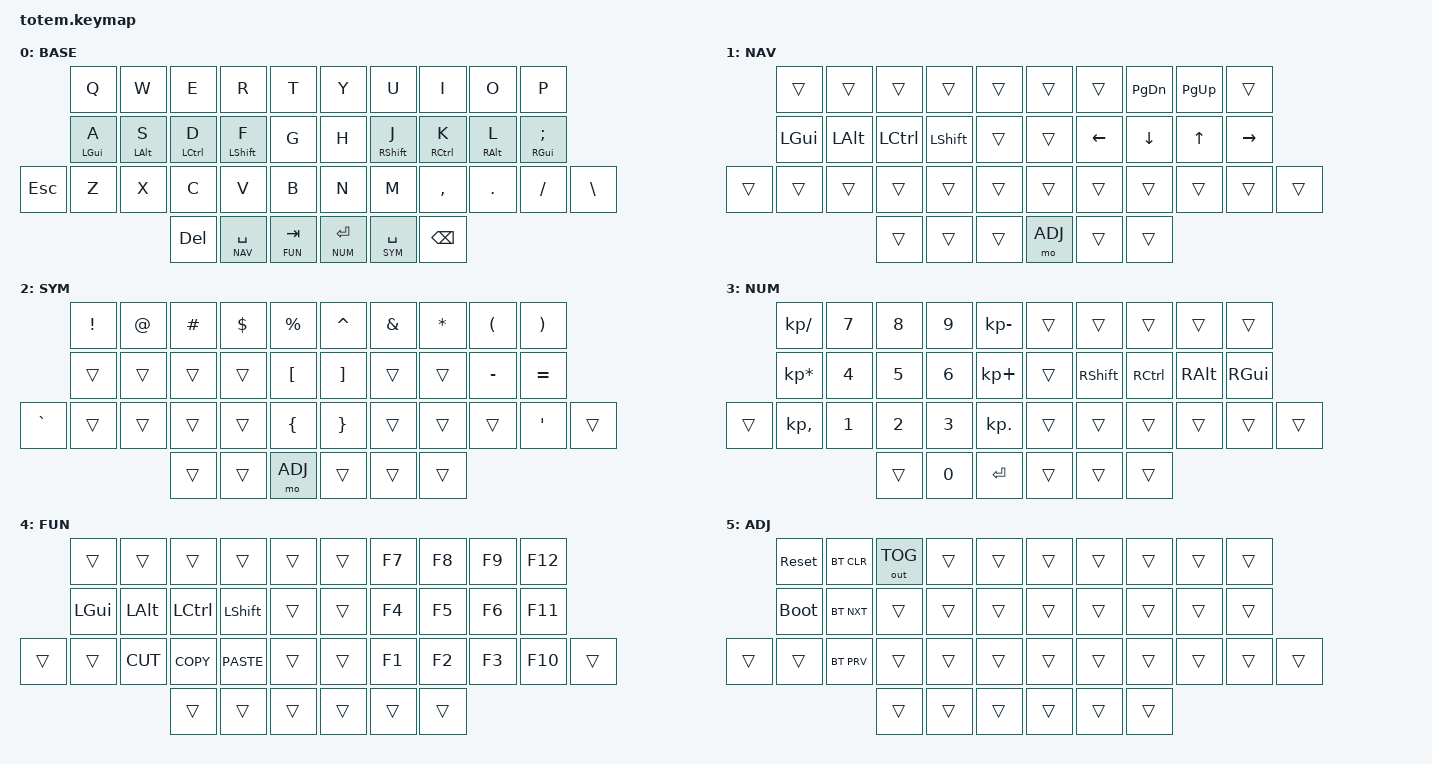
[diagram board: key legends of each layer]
//
//                                                        ▀▀▀▀▀     ▀▀▀▀▀          ▀▀█▀▀
//                                                        ▄▀▀▀▄  ▄  ▄▀▀▀▄  ▄  ▄▀▀▀▄  █  ▄▀▀▀▄
//                                                        █   █  █  █   █  █  █   █  █  █   █
//                                                         ▀▀▀   █   ▀▀▀   █   ▀▀▀   ▀   ▀▀▀
//                                                               █      ▄▄▄█▄▄▄    █   █  
//                                                               ▀      █  █  █     █▄█
//                                                             ▀▀▀▀▀    █  █  █      ▀
//                                                                      ▀  ▀  ▀
//
// ▄▄▄▄▄▄▄▄▄▄▄▄▄▄▄▄▄▄▄▄▄▄▄▄▄▄▄▄▄▄▄▄▄▄▄▄▄▄▄▄▄▄▄▄▄▄▄▄▄▄▄▄▄▄▄▄▄▄▄▄▄▄▄▄▄▄▄▄▄▄▄▄▄▄▄▄▄▄▄▄▄▄▄▄▄▄▄▄▄▄▄▄▄▄▄▄▄▄▄▄▄▄▄▄▄▄▄▄▄▄▄▄▄▄▄▄▄▄▄▄▄▄▄▄▄▄▄▄▄▄▄▄▄▄▄▄▄▄▄▄▄▄▄▄▄▄▄▄▄
       

#include <behaviors.dtsi>
#include <dt-bindings/zmk/keys.h>
#include <dt-bindings/zmk/bt.h>
#include <dt-bindings/zmk/outputs.h>

#define BASE 0
#define NAV  1
#define SYM  2
#define NUM  3
#define FUN  4
#define ADJ  5

&mt {
  quick-tap-ms = <100>;
  global-quick-tap;
  flavor = "tap-preferred";
  tapping-term-ms = <170>;
};

/ {
     combos {
            compatible = "zmk,combos";
            combo_esc {
                timeout-ms = <50>;
                key-positions = <0 1>;
                bindings = <&kp ESC>;
            };
    };

        keymap {
                compatible = "zmk,keymap";
// ▄▄▄▄▄▄▄▄▄▄▄▄▄▄▄▄▄▄▄▄▄▄▄▄▄▄▄▄▄▄▄▄▄▄▄▄▄▄▄▄▄▄▄▄▄▄▄▄▄▄▄▄▄▄▄▄▄▄▄▄▄▄▄▄▄▄▄▄▄▄▄▄▄▄▄▄▄▄▄▄▄▄▄▄▄▄▄▄▄▄▄▄▄▄▄▄▄▄▄▄▄▄▄▄▄▄▄▄▄▄▄▄▄▄▄▄▄▄▄▄▄▄▄▄▄▄▄▄▄▄▄▄▄▄▄▄▄▄▄▄▄▄▄▄▄▄▄▄▄

                base_layer {
// ┏━━━━━━━━━━━━━━━━━━━━━━━━━━━━━━━━━━━━━━━┓
label= "BASE"                              ;
// ┗━━━━━━━━━━━━━━━━━━━━━━━━━━━━━━━━━━━━━━━┛
//             ┏━━━━━━━━━━━┳━━━━━━━━━━━┳━━━━━━━━━━━┳━━━━━━━━━━━┳━━━━━━━━━━━┓   ┏━━━━━━━━━━━┳━━━━━━━━━━━┳━━━━━━━━━━━┳━━━━━━━━━━━┳━━━━━━━━━━━┓
//             ┃     Q     ┃     W     ┃     E     ┃     R     ┃     T     ┃   ┃     Y     ┃     U     ┃     I     ┃     O     ┃     P     ┃
//             ┣━━━━━━━━━━━╋━━━━━━━━━━━╋━━━━━━━━━━━╋━━━━━━━━━━━╋━━━━━━━━━━━┫   ┣━━━━━━━━━━━╋━━━━━━━━━━━╋━━━━━━━━━━━╋━━━━━━━━━━━╋━━━━━━━━━━━┫
//             ┃     A     ┃     S     ┃     D     ┃     F     ┃     G     ┃   ┃     H     ┃     J     ┃     K     ┃     L     ┃     ;     ┃
// ┏━━━━━━━━━━━╋━━━━━━━━━━━╋━━━━━━━━━━━╋━━━━━━━━━━━╋━━━━━━━━━━━╋━━━━━━━━━━━┫   ┣━━━━━━━━━━━╋━━━━━━━━━━━╋━━━━━━━━━━━╋━━━━━━━━━━━╋━━━━━━━━━━━╋━━━━━━━━━━━┓
// ┃    ESC    ┃     Z     ┃     X     ┃     C     ┃     V     ┃     B     ┃   ┃     N     ┃     M     ┃     ,     ┃     .     ┃     /     ┃     \     ┃
// ┗━━━━━━━━━━━┻━━━━━━━━━━━┻━━━━━━━━━━━╋━━━━━━━━━━━╋━━━━━━━━━━━╋━━━━━━━━━━━┫   ┣━━━━━━━━━━━╋━━━━━━━━━━━╋━━━━━━━━━━━╋━━━━━━━━━━━┻━━━━━━━━━━━┻━━━━━━━━━━━┛
//                                     ┃    DEL    ┃    TAB    ┃    SPC    ┃   ┃    SPC    ┃    RET    ┃   BSPC    ┃
//                                     ┗━━━━━━━━━━━┻━━━━━━━━━━━┻━━━━━━━━━━━┛   ┗━━━━━━━━━━━┻━━━━━━━━━━━┻━━━━━━━━━━━┛
 bindings = <
// ╷           ╷           ╷           ╷           ╷           ╷           ╷   ╷           ╷           ╷           ╷           ╷           ╷           ╷

                &kp Q       &kp W       &kp E       &kp R       &kp T           &kp Y       &kp U       &kp I       &kp O       &kp P
                &mt LGUI A  &mt LALT S  &mt LCTRL D &mt LSHFT F &kp G           &kp H       &mt RSHFT J &mt RCTRL K &mt RALT L  &mt RGUI SEMI
    &kp ESC     &kp Z       &kp X       &kp C       &kp V       &kp B           &kp N       &kp M       &kp COMMA   &kp DOT     &kp FSLH    &kp BSLH
                                        &kp DEL     &lt NAV SPACE &lt FUN TAB   &lt NUM RET &lt SYM SPACE &kp BSPC
                        >;
                };

// ▄▄▄▄▄▄▄▄▄▄▄▄▄▄▄▄▄▄▄▄▄▄▄▄▄▄▄▄▄▄▄▄▄▄▄▄▄▄▄▄▄▄▄▄▄▄▄▄▄▄▄▄▄▄▄▄▄▄▄▄▄▄▄▄▄▄▄▄▄▄▄▄▄▄▄▄▄▄▄▄▄▄▄▄▄▄▄▄▄▄▄▄▄▄▄▄▄▄▄▄▄▄▄▄▄▄▄▄▄▄▄▄▄▄▄▄▄▄▄▄▄▄▄▄▄▄▄▄▄▄▄▄▄▄▄▄▄▄▄▄▄▄▄▄▄▄▄▄▄


                nav_layer {
// ┏━━━━━━━━━━━━━━━━━━━━━━━━━━━━━━━━━━━━━━━┓
label= "NAV"                               ;
// ┗━━━━━━━━━━━━━━━━━━━━━━━━━━━━━━━━━━━━━━━┛
//             ┏━━━━━━━━━━━┳━━━━━━━━━━━┳━━━━━━━━━━━┳━━━━━━━━━━━┳━━━━━━━━━━━┓   ┏━━━━━━━━━━━┳━━━━━━━━━━━┳━━━━━━━━━━━┳━━━━━━━━━━━┳━━━━━━━━━━━┓
//             ┃           ┃           ┃           ┃           ┃           ┃   ┃           ┃           ┃  PG DOWN  ┃   PG UP   ┃           ┃
//             ┣━━━━━━━━━━━╋━━━━━━━━━━━╋━━━━━━━━━━━╋━━━━━━━━━━━╋━━━━━━━━━━━┫   ┣━━━━━━━━━━━╋━━━━━━━━━━━╋━━━━━━━━━━━╋━━━━━━━━━━━╋━━━━━━━━━━━┫
//             ┃    WIN    ┃    ALT    ┃    CTRL   ┃    SHFT   ┃           ┃   ┃           ┃    LEFT   ┃   DOWN    ┃    UP     ┃   RIGHT   ┃ 
// ┏━━━━━━━━━━━╋━━━━━━━━━━━╋━━━━━━━━━━━╋━━━━━━━━━━━╋━━━━━━━━━━━╋━━━━━━━━━━━┫   ┣━━━━━━━━━━━╋━━━━━━━━━━━╋━━━━━━━━━━━╋━━━━━━━━━━━╋━━━━━━━━━━━╋━━━━━━━━━━━┓
// ┃           ┃           ┃           ┃           ┃           ┃           ┃   ┃           ┃           ┃           ┃           ┃           ┃           ┃
// ┗━━━━━━━━━━━┻━━━━━━━━━━━┻━━━━━━━━━━━╋━━━━━━━━━━━╋━━━━━━━━━━━╋━━━━━━━━━━━┫   ┣━━━━━━━━━━━╋━━━━━━━━━━━╋━━━━━━━━━━━╋━━━━━━━━━━━┻━━━━━━━━━━━┻━━━━━━━━━━━┛
//                                     ┃           ┃           ┃           ┃   ┃    ADJ    ┃           ┃           ┃
//                                     ┗━━━━━━━━━━━┻━━━━━━━━━━━┻━━━━━━━━━━━┛   ┗━━━━━━━━━━━┻━━━━━━━━━━━┻━━━━━━━━━━━┛
 bindings = <
// ╷           ╷           ╷           ╷           ╷           ╷           ╷   ╷           ╷           ╷           ╷           ╷           ╷           ╷

                &trans      &trans      &trans      &trans      &trans          &trans      &trans      &kp PG_DN   &kp PG_UP   &trans 
                &kp LGUI    &kp LALT    &kp LCTRL   &kp LSHFT   &trans          &trans      &kp LEFT    &kp DOWN    &kp UP      &kp RIGHT
    &trans      &trans      &trans      &trans      &trans      &trans          &trans      &trans      &trans      &trans      &trans     &trans 
                                        &trans      &trans      &trans          &mo ADJ     &trans      &trans      
                        >;
                };

// ▄▄▄▄▄▄▄▄▄▄▄▄▄▄▄▄▄▄▄▄▄▄▄▄▄▄▄▄▄▄▄▄▄▄▄▄▄▄▄▄▄▄▄▄▄▄▄▄▄▄▄▄▄▄▄▄▄▄▄▄▄▄▄▄▄▄▄▄▄▄▄▄▄▄▄▄▄▄▄▄▄▄▄▄▄▄▄▄▄▄▄▄▄▄▄▄▄▄▄▄▄▄▄▄▄▄▄▄▄▄▄▄▄▄▄▄▄▄▄▄▄▄▄▄▄▄▄▄▄▄▄▄▄▄▄▄▄▄▄▄▄▄▄▄▄▄▄▄▄


                sym_layer {
// ┏━━━━━━━━━━━━━━━━━━━━━━━━━━━━━━━━━━━━━━━┓
label= "SYM"                               ;
// ┗━━━━━━━━━━━━━━━━━━━━━━━━━━━━━━━━━━━━━━━┛
//             ┏━━━━━━━━━━━┳━━━━━━━━━━━┳━━━━━━━━━━━┳━━━━━━━━━━━┳━━━━━━━━━━━┓   ┏━━━━━━━━━━━┳━━━━━━━━━━━┳━━━━━━━━━━━┳━━━━━━━━━━━┳━━━━━━━━━━━┓
//             ┃     !     ┃     @     ┃     #     ┃     $     ┃     %     ┃   ┃     ˆ     ┃     &     ┃     *     ┃     (     ┃     )     ┃
//             ┣━━━━━━━━━━━╋━━━━━━━━━━━╋━━━━━━━━━━━╋━━━━━━━━━━━╋━━━━━━━━━━━┫   ┣━━━━━━━━━━━╋━━━━━━━━━━━╋━━━━━━━━━━━╋━━━━━━━━━━━╋━━━━━━━━━━━┫
//             ┃           ┃           ┃           ┃           ┃     [     ┃   ┃     ]     ┃           ┃           ┃     -     ┃     =     ┃
// ┏━━━━━━━━━━━╋━━━━━━━━━━━╋━━━━━━━━━━━╋━━━━━━━━━━━╋━━━━━━━━━━━╋━━━━━━━━━━━┫   ┣━━━━━━━━━━━╋━━━━━━━━━━━╋━━━━━━━━━━━╋━━━━━━━━━━━╋━━━━━━━━━━━╋━━━━━━━━━━━┓
// ┃     `     ┃           ┃           ┃           ┃           ┃     {     ┃   ┃     }     ┃           ┃           ┃           ┃     '     ┃           ┃
// ┗━━━━━━━━━━━┻━━━━━━━━━━━┻━━━━━━━━━━━╋━━━━━━━━━━━╋━━━━━━━━━━━╋━━━━━━━━━━━┫   ┣━━━━━━━━━━━╋━━━━━━━━━━━╋━━━━━━━━━━━╋━━━━━━━━━━━┻━━━━━━━━━━━┻━━━━━━━━━━━┛
//                                     ┃           ┃           ┃    ADJ    ┃   ┃           ┃           ┃           ┃
//                                     ┗━━━━━━━━━━━┻━━━━━━━━━━━┻━━━━━━━━━━━┛   ┗━━━━━━━━━━━┻━━━━━━━━━━━┻━━━━━━━━━━━┛
 bindings = <
// ╷           ╷           ╷           ╷           ╷           ╷           ╷   ╷           ╷           ╷           ╷           ╷           ╷           ╷

                &kp EXCL    &kp AT      &kp HASH    &kp DLLR    &kp PRCNT       &kp CARET    &kp AMPS       &kp STAR   &kp LPAR    &kp RPAR       
                &trans      &trans      &trans      &trans      &kp LBKT        &kp RBKT     &trans         &trans     &kp MINUS   &kp EQUAL
    &kp GRAVE   &trans      &trans      &trans      &trans      &kp LBRC        &kp RBRC     &trans         &trans     &trans      &kp APOS    &trans
                                        &trans      &trans      &mo ADJ         &trans       &trans         &trans      
                        >;
                };

// ▄▄▄▄▄▄▄▄▄▄▄▄▄▄▄▄▄▄▄▄▄▄▄▄▄▄▄▄▄▄▄▄▄▄▄▄▄▄▄▄▄▄▄▄▄▄▄▄▄▄▄▄▄▄▄▄▄▄▄▄▄▄▄▄▄▄▄▄▄▄▄▄▄▄▄▄▄▄▄▄▄▄▄▄▄▄▄▄▄▄▄▄▄▄▄▄▄▄▄▄▄▄▄▄▄▄▄▄▄▄▄▄▄▄▄▄▄▄▄▄▄▄▄▄▄▄▄▄▄▄▄▄▄▄▄▄▄▄▄▄▄▄▄▄▄▄▄▄▄


              number_layer {
// ┏━━━━━━━━━━━━━━━━━━━━━━━━━━━━━━━━━━━━━━━┓
label= "NUM"                               ;
// ┗━━━━━━━━━━━━━━━━━━━━━━━━━━━━━━━━━━━━━━━┛
//             ┏━━━━━━━━━━━┳━━━━━━━━━━━┳━━━━━━━━━━━┳━━━━━━━━━━━┳━━━━━━━━━━━┓   ┏━━━━━━━━━━━┳━━━━━━━━━━━┳━━━━━━━━━━━┳━━━━━━━━━━━┳━━━━━━━━━━━┓
//             ┃     /     ┃     7     ┃     8     ┃     9     ┃     -     ┃   ┃           ┃           ┃           ┃           ┃           ┃
//             ┣━━━━━━━━━━━╋━━━━━━━━━━━╋━━━━━━━━━━━╋━━━━━━━━━━━╋━━━━━━━━━━━┫   ┣━━━━━━━━━━━╋━━━━━━━━━━━╋━━━━━━━━━━━╋━━━━━━━━━━━╋━━━━━━━━━━━┫
//             ┃     *     ┃     4     ┃     5     ┃     6     ┃     +     ┃   ┃           ┃   SHIFT   ┃   CTRL    ┃    ALT    ┃    WIN    ┃
// ┏━━━━━━━━━━━╋━━━━━━━━━━━╋━━━━━━━━━━━╋━━━━━━━━━━━╋━━━━━━━━━━━╋━━━━━━━━━━━┫   ┣━━━━━━━━━━━╋━━━━━━━━━━━╋━━━━━━━━━━━╋━━━━━━━━━━━╋━━━━━━━━━━━╋━━━━━━━━━━━┓
// ┃           ┃     ,     ┃     1     ┃     2     ┃     3     ┃     .     ┃   ┃           ┃           ┃           ┃           ┃           ┃           ┃
// ┗━━━━━━━━━━━┻━━━━━━━━━━━┻━━━━━━━━━━━╋━━━━━━━━━━━╋━━━━━━━━━━━╋━━━━━━━━━━━┫   ┣━━━━━━━━━━━╋━━━━━━━━━━━╋━━━━━━━━━━━╋━━━━━━━━━━━┻━━━━━━━━━━━┻━━━━━━━━━━━┛
//                                     ┃           ┃     0     ┃    RET    ┃   ┃           ┃           ┃           ┃
//                                     ┗━━━━━━━━━━━┻━━━━━━━━━━━┻━━━━━━━━━━━┛   ┗━━━━━━━━━━━┻━━━━━━━━━━━┻━━━━━━━━━━━┛
 bindings = <
// ╷           ╷           ╷           ╷           ╷           ╷           ╷   ╷           ╷           ╷           ╷           ╷           ╷           ╷

                &kp KP_DIVIDE &kp N7    &kp N8      &kp N9      &kp KP_MINUS    &trans      &trans      &trans      &trans      &trans
                &kp KP_MULTIPLY &kp N4  &kp N5      &kp N6      &kp KP_PLUS     &trans      &kp RSHFT   &kp RCTRL   &kp RALT    &kp RGUI  
    &trans      &kp KP_COMMA &kp N1     &kp N2      &kp N3      &kp KP_DOT      &trans      &trans      &trans      &trans      &trans     &trans 
                                        &trans      &kp N0      &kp RET         &trans      &trans      &trans      
                        >;
                };

// ▄▄▄▄▄▄▄▄▄▄▄▄▄▄▄▄▄▄▄▄▄▄▄▄▄▄▄▄▄▄▄▄▄▄▄▄▄▄▄▄▄▄▄▄▄▄▄▄▄▄▄▄▄▄▄▄▄▄▄▄▄▄▄▄▄▄▄▄▄▄▄▄▄▄▄▄▄▄▄▄▄▄▄▄▄▄▄▄▄▄▄▄▄▄▄▄▄▄▄▄▄▄▄▄▄▄▄▄▄▄▄▄▄▄▄▄▄▄▄▄▄▄▄▄▄▄▄▄▄▄▄▄▄▄▄▄▄▄▄▄▄▄▄▄▄▄▄▄▄

                functional_layer {
// ┏━━━━━━━━━━━━━━━━━━━━━━━━━━━━━━━━━━━━━━━┓
label= "FUN"                               ;
// ┗━━━━━━━━━━━━━━━━━━━━━━━━━━━━━━━━━━━━━━━┛
//             ┏━━━━━━━━━━━┳━━━━━━━━━━━┳━━━━━━━━━━━┳━━━━━━━━━━━┳━━━━━━━━━━━┓   ┏━━━━━━━━━━━┳━━━━━━━━━━━┳━━━━━━━━━━━┳━━━━━━━━━━━┳━━━━━━━━━━━┓
//             ┃           ┃           ┃           ┃           ┃           ┃   ┃           ┃    F7     ┃    F8     ┃    F9     ┃    F12    ┃
//             ┣━━━━━━━━━━━╋━━━━━━━━━━━╋━━━━━━━━━━━╋━━━━━━━━━━━╋━━━━━━━━━━━┫   ┣━━━━━━━━━━━╋━━━━━━━━━━━╋━━━━━━━━━━━╋━━━━━━━━━━━╋━━━━━━━━━━━┫
//             ┃    WIN    ┃    ALT    ┃    CTRL   ┃    SHFT   ┃           ┃   ┃           ┃    F4     ┃    F5     ┃    F6     ┃    F11    ┃
// ┏━━━━━━━━━━━╋━━━━━━━━━━━╋━━━━━━━━━━━╋━━━━━━━━━━━╋━━━━━━━━━━━╋━━━━━━━━━━━┫   ┣━━━━━━━━━━━╋━━━━━━━━━━━╋━━━━━━━━━━━╋━━━━━━━━━━━╋━━━━━━━━━━━╋━━━━━━━━━━━┓
// ┃           ┃           ┃    CUT    ┃    COPY   ┃   PASTE   ┃           ┃   ┃           ┃    F1     ┃    F2     ┃    F3     ┃    F10    ┃           ┃
// ┗━━━━━━━━━━━┻━━━━━━━━━━━┻━━━━━━━━━━━╋━━━━━━━━━━━╋━━━━━━━━━━━╋━━━━━━━━━━━┫   ┣━━━━━━━━━━━╋━━━━━━━━━━━╋━━━━━━━━━━━╋━━━━━━━━━━━┻━━━━━━━━━━━┻━━━━━━━━━━━┛
//                                     ┃           ┃           ┃           ┃   ┃           ┃           ┃           ┃
//                                     ┗━━━━━━━━━━━┻━━━━━━━━━━━┻━━━━━━━━━━━┛   ┗━━━━━━━━━━━┻━━━━━━━━━━━┻━━━━━━━━━━━┛
 bindings = <
// ╷           ╷           ╷           ╷           ╷           ╷           ╷   ╷           ╷           ╷           ╷           ╷           ╷           ╷

                &trans      &trans      &trans      &trans      &trans          &trans      &kp F7      &kp F8      &kp F9      &kp F12
                &kp LGUI    &kp LALT    &kp LCTRL   &kp LSHFT   &trans          &trans      &kp F4      &kp F5      &kp F6      &kp F11  
    &trans      &trans      &kp K_CUT   &kp K_COPY  &kp K_PASTE &trans          &trans      &kp F1      &kp F2      &kp F3      &kp F10     &trans 
                                        &trans      &trans      &trans          &trans      &trans      &trans      
                        >;
                };

// ▄▄▄▄▄▄▄▄▄▄▄▄▄▄▄▄▄▄▄▄▄▄▄▄▄▄▄▄▄▄▄▄▄▄▄▄▄▄▄▄▄▄▄▄▄▄▄▄▄▄▄▄▄▄▄▄▄▄▄▄▄▄▄▄▄▄▄▄▄▄▄▄▄▄▄▄▄▄▄▄▄▄▄▄▄▄▄▄▄▄▄▄▄▄▄▄▄▄▄▄▄▄▄▄▄▄▄▄▄▄▄▄▄▄▄▄▄▄▄▄▄▄▄▄▄▄▄▄▄▄▄▄▄▄▄▄▄▄▄▄▄▄▄▄▄▄▄▄▄


                adjust_layer {
// ┏━━━━━━━━━━━━━━━━━━━━━━━━━━━━━━━━━━━━━━━┓
label= "ADJ"                               ;
// ┗━━━━━━━━━━━━━━━━━━━━━━━━━━━━━━━━━━━━━━━┛
//             ┏━━━━━━━━━━━┳━━━━━━━━━━━┳━━━━━━━━━━━┳━━━━━━━━━━━┳━━━━━━━━━━━┓   ┏━━━━━━━━━━━┳━━━━━━━━━━━┳━━━━━━━━━━━┳━━━━━━━━━━━┳━━━━━━━━━━━┓
//             ┃   RESET   ┃ BT CLEAR  ┃  OUT TOG  ┃           ┃           ┃   ┃           ┃           ┃           ┃           ┃           ┃
//             ┣━━━━━━━━━━━╋━━━━━━━━━━━╋━━━━━━━━━━━╋━━━━━━━━━━━╋━━━━━━━━━━━┫   ┣━━━━━━━━━━━╋━━━━━━━━━━━╋━━━━━━━━━━━╋━━━━━━━━━━━╋━━━━━━━━━━━┫
//             ┃ BOOTLOAD  ┃ BT NEXT   ┃           ┃           ┃           ┃   ┃           ┃           ┃           ┃           ┃           ┃
// ┏━━━━━━━━━━━╋━━━━━━━━━━━╋━━━━━━━━━━━╋━━━━━━━━━━━╋━━━━━━━━━━━╋━━━━━━━━━━━┫   ┣━━━━━━━━━━━╋━━━━━━━━━━━╋━━━━━━━━━━━╋━━━━━━━━━━━╋━━━━━━━━━━━╋━━━━━━━━━━━┓
// ┃           ┃           ┃ BT PREV   ┃           ┃           ┃           ┃   ┃           ┃           ┃           ┃           ┃           ┃           ┃
// ┗━━━━━━━━━━━┻━━━━━━━━━━━┻━━━━━━━━━━━╋━━━━━━━━━━━╋━━━━━━━━━━━╋━━━━━━━━━━━┫   ┣━━━━━━━━━━━╋━━━━━━━━━━━╋━━━━━━━━━━━╋━━━━━━━━━━━┻━━━━━━━━━━━┻━━━━━━━━━━━┛
//                                     ┃           ┃           ┃           ┃   ┃           ┃           ┃           ┃
//                                     ┗━━━━━━━━━━━┻━━━━━━━━━━━┻━━━━━━━━━━━┛   ┗━━━━━━━━━━━┻━━━━━━━━━━━┻━━━━━━━━━━━┛
 bindings = <
// ╷           ╷           ╷           ╷           ╷           ╷           ╷   ╷           ╷           ╷           ╷           ╷           ╷           ╷

                &sys_reset  &bt BT_CLR &out OUT_TOG &trans      &trans          &trans      &trans      &trans      &trans      &trans
                &bootloader &bt BT_NXT  &trans      &trans      &trans          &trans      &trans      &trans      &trans      &trans  
    &trans      &trans      &bt BT_PRV  &trans      &trans      &trans          &trans      &trans      &trans      &trans      &trans     &trans 
                                        &trans      &trans      &trans          &trans      &trans      &trans      
                        >;
                };
        };
};
